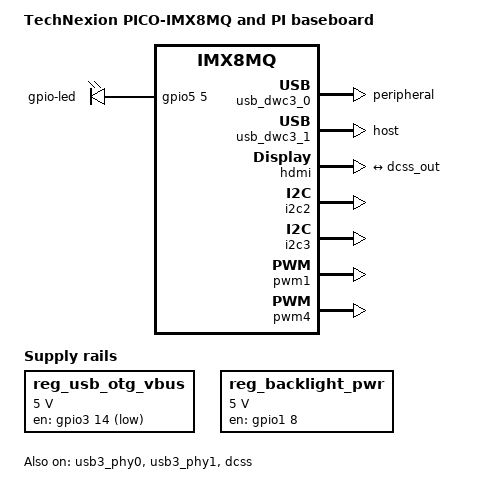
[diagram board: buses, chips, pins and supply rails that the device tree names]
/*
 * Copyright 2018 Technexion Ltd.
 * Copyright 2017 NXP
 *
 * Author: Richard Hu <richard.hu@technexion.com>
 *
 * This program is free software; you can redistribute it and/or
 * modify it under the terms of the GNU General Public License
 * as published by the Free Software Foundation; either version 2
 * of the License, or (at your option) any later version.
 *
 * This program is distributed in the hope that it will be useful,
 * but WITHOUT ANY WARRANTY; without even the implied warranty of
 * MERCHANTABILITY or FITNESS FOR A PARTICULAR PURPOSE.  See the
 * GNU General Public License for more details.
 */

/dts-v1/;

#include "imx8mq-pico.dtsi"

/ {
	model = "TechNexion PICO-IMX8MQ and PI baseboard";
	compatible = "pico,imx8mq-pico", "fsl,imx8mq";

	chosen {
		stdout-path = &uart1;
	};

	regulators {
		compatible = "simple-bus";
		#address-cells = <1>;
		#size-cells = <0>;

		reg_usb_otg_vbus: regulator-usb-otg-vbus {
			pinctrl-names = "default";
			pinctrl-0 = <&pinctrl_otg_vbus>;
			compatible = "regulator-fixed";
			regulator-name = "usb_otg_vbus";
			regulator-min-microvolt = <5000000>;
			regulator-max-microvolt = <5000000>;
			gpio = <&gpio3 14 GPIO_ACTIVE_LOW>;
		};

		reg_backlight_pwr: regulator_blpwr {
			pinctrl-names = "default";
			pinctrl-0 = <&pinctrl_backlight_pwr>;
			compatible = "regulator-fixed";
			regulator-name = "backlight_pwr";
			regulator-min-microvolt = <5000000>;
			regulator-max-microvolt = <5000000>;
			gpio = <&gpio1 8 GPIO_ACTIVE_HIGH>;
			enable-active-high;
		};
	};

	leds {
		compatible = "gpio-leds";
		pinctrl-names = "default";

		led {
			label = "gpio-led";
			pintctrl-0 = <&pinctrl_led>;
			gpios = <&gpio5 5 0>;
			linux,default-trigger = "heartbeat";
		};
	};

	backlight_mipi {
		compatible = "pwm-backlight";
		pwms = <&pwm1 0 50000 0>;
		brightness-levels = <0 36 72 108 144 180 216 255>;
		default-brightness-level = <6>;
		power-supply = <&reg_backlight_pwr>;
		status = "disabled";
	};
};

&usb3_phy0 {
	status = "okay";
};

&usb_dwc3_0 {
	dr_mode = "peripheral";
	status = "okay";
};

&usb3_phy1 {
	status = "okay";
};

&usb_dwc3_1 {
	dr_mode = "host";
	status = "okay";
};

&dcss {
	status = "okay";
	port@0 {
		dcss_out: endpoint {
			remote-endpoint = <&hdmi_in>;
		};
	};
};

&hdmi {
	compatible = "fsl,imx8mq-hdmi";
	status = "okay";

	display-timings {
		native-mode = <&timing1>;

		timing1: timing1 {
			clock-frequency = <74250000>;
			hactive = <1280>;
			vactive = <720>;
			hfront-porch = <220>;
			hback-porch = <110>;
			hsync-len = <40>;
			vback-porch = <5>;
			vfront-porch = <20>;
			vsync-len = <5>;
		};
	};

	port@0 {
		hdmi_in: endpoint {
			remote-endpoint = <&dcss_out>;
		};
	};
};

&iomuxc {
	pinctrl-names = "default";
	pinctrl-0 = <&pinctrl_hog>;

	pinctrl_hog: hoggrp {
		fsl,pins = <
			/* Clock for both CSI1 and CSI2 */
			MX8MQ_IOMUXC_GPIO1_IO15_CCMSRCGPCMIX_CLKO2	0x07
		>;
	};

	pinctrl_otg_vbus: otgvbusgrp {
		fsl,pins = <
			MX8MQ_IOMUXC_NAND_DQS_GPIO3_IO14		0x19   /* USB OTG VBUS Enable */
		>;
	};

	pinctrl_backlight_pwr: backlight_pwrgrp {
		fsl,pins = <
			MX8MQ_IOMUXC_GPIO1_IO08_GPIO1_IO8		0x19
		>;
	};

	pinctrl_dsi_pwm: dsi_pwm {
		fsl,pins = <
			MX8MQ_IOMUXC_GPIO1_IO01_PWM1_OUT		0x16	/* DSI PWM */
		>;
	};

	pinctrl_fan_pwm: fan_pwm {
		fsl,pins = <
			MX8MQ_IOMUXC_SAI3_MCLK_PWM4_OUT			0x16	/* FAN PWM */
		>;
	};

	pinctrl_mipi_dsi_rst: mipi_dsi_rst {
		fsl,pins = <
			MX8MQ_IOMUXC_NAND_WE_B_GPIO3_IO17	0x16   /* DSI RST */
		>;
	};

	pinctrl_touch_irq: touch_irqgrp {
		fsl,pins = <
			MX8MQ_IOMUXC_GPIO1_IO07_GPIO1_IO7	0x41
		>;
	};

	pinctrl_tusb320_irq: tusb320_irqgrp {
		fsl,pins = <
			MX8MQ_IOMUXC_NAND_CE0_B_GPIO3_IO1	0x41
		>;
	};

	pinctrl_csi1: csi1grp {
		fsl,pins = <
			MX8MQ_IOMUXC_GPIO1_IO12_GPIO1_IO12		0x19   /* CSI nRST */
		>;
	};

	pinctrl_csi2: csi2grp {
		fsl,pins = <
			MX8MQ_IOMUXC_NAND_READY_B_GPIO3_IO16		0x19   /* GPIO_P44, CSI nRST */
		>;
	};

	pinctrl_ecspi1: ecspi1grp {
			fsl,pins = <
				MX8MQ_IOMUXC_ECSPI1_SCLK_ECSPI1_SCLK	0x82
				MX8MQ_IOMUXC_ECSPI1_MOSI_ECSPI1_MOSI	0x82	/* ECSPI1_MOSI conflicts with CSI P2 PWDN*/
				MX8MQ_IOMUXC_ECSPI1_MISO_ECSPI1_MISO	0x82
			>;
		};

	pinctrl_ecspi1_cs: ecspi1cs {
		fsl,pins = <
			MX8MQ_IOMUXC_ECSPI1_SS0_GPIO5_IO9	0x16
		>;
	};

	pinctrl_touch_rst: touch_rstgrp {
		fsl,pins = <
			MX8MQ_IOMUXC_NAND_WP_B_GPIO3_IO18	0x16
		>;
	};

	pinctrl_led: ledggrp {
		fsl,pins = <
			MX8MQ_IOMUXC_SPDIF_EXT_CLK_GPIO5_IO5	0x19
		>;
	};

	/* GPIO on expansion IO J8 connector */
	pinctrl_gpio3: gpio3grp {
		fsl,pins = <
			MX8MQ_IOMUXC_NAND_ALE_GPIO3_IO0			0x19 /* GPIO_P28 */
			MX8MQ_IOMUXC_NAND_CE2_B_GPIO3_IO3		0x19 /* GPIO_P25, CLIX_RESET */
			MX8MQ_IOMUXC_NAND_CLE_GPIO3_IO5			0x19 /* GPIO_P30 */
			MX8MQ_IOMUXC_NAND_RE_B_GPIO3_IO15		0x19 /* GPIO_P32 */
		>;
	};
};

&ecspi1 {
	#address-cells = <1>;
	#size-cells = <0>;
	fsl,spi-num-chipselects = <1>;
	pinctrl-names = "default";
	pinctrl-0 = <&pinctrl_ecspi1 &pinctrl_ecspi1_cs>;
	cs-gpios = <&gpio5 9 GPIO_ACTIVE_LOW>;
	status = "disabled"; /* ECSPI1_MOSI conflicts with CSI P2 PWDN*/

	spidev0: spi@0 {
		reg = <0>;
		compatible = "rohm,dh2228fv";
		spi-max-frequency = <1000000>;
	};
};

&i2c2 {
	status = "okay";
};

&i2c3 {
	status = "okay";
};

&pwm1 {
	pinctrl-names = "default";
	pinctrl-0 = <&pinctrl_dsi_pwm>;
	status = "okay";
};

&pwm4 {
	pinctrl-names = "default";
	pinctrl-0 = <&pinctrl_fan_pwm>;
	status = "okay";
};
